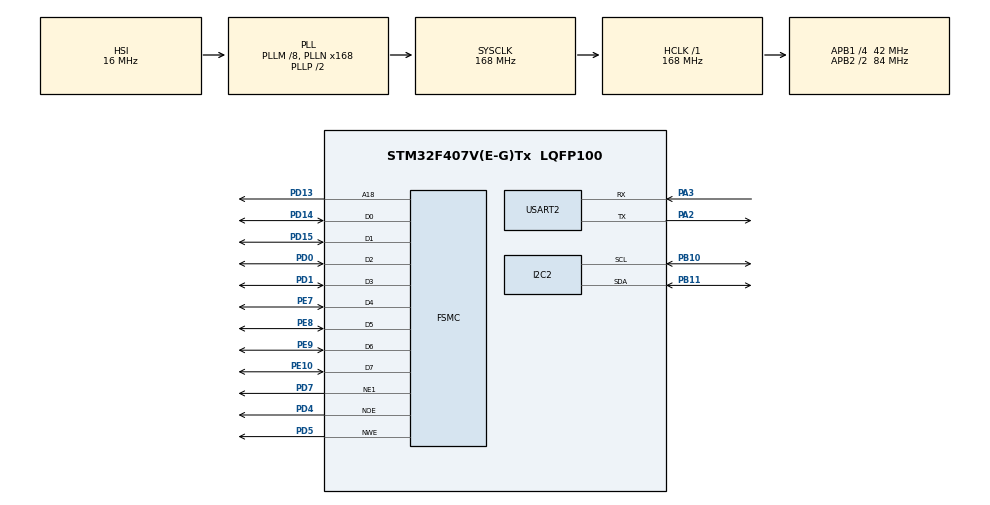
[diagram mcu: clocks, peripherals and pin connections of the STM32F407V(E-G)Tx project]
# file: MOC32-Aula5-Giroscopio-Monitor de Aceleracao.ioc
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I2C2.I2C_Mode=I2C_Fast
Mcu.Family=STM32F4
Mcu.Name=STM32F407V(E-G)Tx
Mcu.Package=LQFP100
NVIC.PriorityGroup=NVIC_PRIORITYGROUP_4
PA2.Mode=Asynchronous
PA2.Signal=USART2_TX
PA3.Mode=Asynchronous
PA3.Signal=USART2_RX
PB10.GPIO_Pu=GPIO_PULLUP
PB10.Mode=I2C
PB10.Signal=I2C2_SCL
PB11.GPIO_Pu=GPIO_PULLUP
PB11.Mode=I2C
PB11.Signal=I2C2_SDA
PD0.Mode=8b-d1
PD0.Signal=FSMC_D2
PD1.Mode=8b-d1
PD1.Signal=FSMC_D3
PD13.Mode=A18_1
PD13.Signal=FSMC_A18
PD14.Mode=8b-d1
PD14.Signal=FSMC_D0
PD15.Mode=8b-d1
PD15.Signal=FSMC_D1
PD4.Mode=Lcd1
PD4.Signal=FSMC_NOE
PD5.Mode=Lcd1
PD5.Signal=FSMC_NWE
PD7.Mode=NorPsramChipSelect1_1
PD7.Signal=FSMC_NE1
PE10.Mode=8b-d1
PE10.Signal=FSMC_D7
PE7.Mode=8b-d1
PE7.Signal=FSMC_D4
PE8.Mode=8b-d1
PE8.Signal=FSMC_D5
PE9.Mode=8b-d1
PE9.Signal=FSMC_D6
PH0-OSC_IN.Mode=HSE-External-Oscillator
PH0-OSC_IN.Signal=RCC_OSC_IN
PH1-OSC_OUT.Mode=HSE-External-Oscillator
PH1-OSC_OUT.Signal=RCC_OSC_OUT
ProjectManager.HeapSize=0x200
ProjectManager.StackSize=0x400
ProjectManager.TargetToolchain=STM32CubeIDE
RCC.48MHZClocksFreq_Value=84000000
RCC.AHBFreq_Value=168000000
RCC.APB1CLKDivider=RCC_HCLK_DIV4
RCC.APB1Freq_Value=42000000
RCC.APB1TimFreq_Value=84000000
RCC.APB2CLKDivider=RCC_HCLK_DIV2
RCC.APB2Freq_Value=84000000
RCC.APB2TimFreq_Value=168000000
RCC.CortexFreq_Value=168000000
RCC.HCLKFreq_Value=168000000
RCC.HSE_VALUE=8000000
RCC.HSI_VALUE=16000000
RCC.LSE_VALUE=32768
RCC.PLLM=8
RCC.PLLN=168
RCC.SYSCLKFreq_VALUE=168000000
RCC.SYSCLKSource=RCC_SYSCLKSOURCE_PLLCLK
RCC.VCOOutputFreq_Value=336000000
USART2.VirtualMode=VM_ASYNC
board=custom

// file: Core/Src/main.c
/* USER CODE BEGIN Header */
/**
 ******************************************************************************
 * @file           : main.c
 * @brief          : Main program body
 ******************************************************************************
 * @attention
 *
 * Copyright (c) 2023 STMicroelectronics.
 * All rights reserved.
 *
 * This software is licensed under terms that can be found in the LICENSE file
 * in the root directory of this software component.
 * If no LICENSE file comes with this software, it is provided AS-IS.
 *
 ******************************************************************************
 */
/* USER CODE END Header */
#include "main.h"

/* USER CODE BEGIN Includes */
#include "stm32f4xx_hal.h"
#include "MPU9250.h"
#include <stdio.h>
#include "ili9341.h"
#include "common.h"
#include "fonts.h"
#include "lcd.h"
#include "math.h"
#include <stdbool.h>
/* USER CODE END Includes */

I2C_HandleTypeDef hi2c2;

UART_HandleTypeDef huart2;

SRAM_HandleTypeDef hsram1;

/* USER CODE BEGIN PV */
extern float ax, ay, az;
extern float gx, gy, gz;
extern float mx, my, mz;
extern float temperatura;
extern float q[4];
extern float yaw, pitch, roll;
/* USER CODE END PV */

void SystemClock_Config(void);
static void MX_GPIO_Init(void);
static void MX_FSMC_Init(void);
static void MX_USART2_UART_Init(void);
static void MX_I2C2_Init(void);

int main(void)
{
  /* USER CODE BEGIN 1 */
	int32_t timer;
	uint8_t buffer[100];
  /* USER CODE END 1 */

  /* MCU Configuration--------------------------------------------------------*/

  /* Reset of all peripherals, Initializes the Flash interface and the Systick. */
  HAL_Init();

  /* Configure the system clock */
  SystemClock_Config();

  /* Initialize all configured peripherals */
  MX_GPIO_Init();
  MX_FSMC_Init();
  MX_USART2_UART_Init();
  MX_I2C2_Init();
  /* USER CODE BEGIN 2 */
	MPU9250_init(&hi2c2);
	ili9341_Init();
	ili9341_FillScreen(COLOR_BLACK);
	//HAL_UART_Transmit(&huart2, "Teste", strlen("Teste"), 100);
  /* USER CODE END 2 */

  /* Infinite loop */
	while (1) {

    /* USER CODE BEGIN 3 */
		updateIMU();
		if ((HAL_GetTick() - timer) > 10)
		{
			ili9341_FillScreen(COLOR_BLACK);
			sprintf(&buffer,"TEMPERATURE : %.2f\r\n",temperatura);
			//HAL_UART_Transmit(&huart2, buffer, strlen(buffer), 100);
			ili9341_Printnewtstr(15, COLOR_YELLOW, &mono9x7bold, 1,buffer);
			sprintf(&buffer,"ACCELERATION X : %.2f", ax);
			//HAL_UART_Transmit(&huart2, buffer, strlen(buffer), 100);
			ili9341_Printnewtstr(30, COLOR_YELLOW, &mono9x7bold, 1,buffer);
			sprintf(&buffer,"\tY : %.2f", ay);
			//HAL_UART_Transmit(&huart2, buffer, strlen(buffer), 100);
			ili9341_Printnewtstr(45, COLOR_YELLOW, &mono9x7bold, 1,buffer);
			sprintf(&buffer,"\tZ : %.2f\r\n", ax);
			//HAL_UART_Transmit(&huart2, buffer, strlen(buffer), 100);
			ili9341_Printnewtstr(60, COLOR_YELLOW, &mono9x7bold, 1,buffer);
			sprintf(&buffer,"GYROSCOPE X : %.2f", gx);
			//HAL_UART_Transmit(&huart2, buffer, strlen(buffer), 100);
			ili9341_Printnewtstr(75, COLOR_YELLOW, &mono9x7bold, 1,buffer);
			sprintf(&buffer,"\tY : %.2f", gy);
			//HAL_UART_Transmit(&huart2, buffer, strlen(buffer), 100);
			ili9341_Printnewtstr(90, COLOR_YELLOW, &mono9x7bold, 1,buffer);
			sprintf(&buffer,"\tZ : %.2f\r\n", gz);
			//HAL_UART_Transmit(&huart2, buffer, strlen(buffer), 100);
			ili9341_Printnewtstr(105, COLOR_YELLOW, &mono9x7bold, 1,buffer);
			sprintf(&buffer,"COMPASS X : %.2f", mx);
			//HAL_UART_Transmit(&huart2, buffer, strlen(buffer), 100);
			ili9341_Printnewtstr(120, COLOR_YELLOW, &mono9x7bold, 1,buffer);
			sprintf(&buffer,"\tY : %.2f", my);
			//HAL_UART_Transmit(&huart2, buffer, strlen(buffer), 100);
			ili9341_Printnewtstr(135, COLOR_YELLOW, &mono9x7bold, 1,buffer);
			sprintf(&buffer,"\tZ : %.2f\r\n", mz);
			//HAL_UART_Transmit(&huart2, buffer, strlen(buffer), 100);
			ili9341_Printnewtstr(150, COLOR_YELLOW, &mono9x7bold, 1,buffer);
//			updateOrientation();
//			getEulerAngles_deg(&roll, &pitch, &yaw);
//			//sprintf(&buffer,"ACC ANGLE X : %.2f", );
//			//HAL_UART_Transmit(&huart2, buffer, strlen(buffer), 100);
//			//sprintf(&buffer,"\tY : %.2f\r\n", MPU6050_getAccAngleY());
//			//HAL_UART_Transmit(&huart2, buffer, strlen(buffer), 100);
//			sprintf(&buffer,"ANGLE X : %.2f", roll);
//			HAL_UART_Transmit(&huart2, buffer, strlen(buffer), 100);
//			sprintf(&buffer,"\tY : %.2f", pitch);
//			HAL_UART_Transmit(&huart2, buffer, strlen(buffer), 100);
//			sprintf(&buffer,"\tZ : %.2f\r\n", yaw);
//			HAL_UART_Transmit(&huart2, buffer, strlen(buffer), 100);
			sprintf(&buffer,"=======================================================\r\n");
			HAL_UART_Transmit(&huart2, buffer, strlen(buffer), 100);
			timer = HAL_GetTick();

		}
	}
  /* USER CODE END 3 */
}

void SystemClock_Config(void)
{
  RCC_OscInitTypeDef RCC_OscInitStruct = {0};
  RCC_ClkInitTypeDef RCC_ClkInitStruct = {0};

  /** Configure the main internal regulator output voltage
  */
  __HAL_RCC_PWR_CLK_ENABLE();
  __HAL_PWR_VOLTAGESCALING_CONFIG(PWR_REGULATOR_VOLTAGE_SCALE1);

  /** Initializes the RCC Oscillators according to the specified parameters
  * in the RCC_OscInitTypeDef structure.
  */
  RCC_OscInitStruct.OscillatorType = RCC_OSCILLATORTYPE_HSI;
  RCC_OscInitStruct.HSIState = RCC_HSI_ON;
  RCC_OscInitStruct.HSICalibrationValue = RCC_HSICALIBRATION_DEFAULT;
  RCC_OscInitStruct.PLL.PLLState = RCC_PLL_ON;
  RCC_OscInitStruct.PLL.PLLSource = RCC_PLLSOURCE_HSI;
  RCC_OscInitStruct.PLL.PLLM = 8;
  RCC_OscInitStruct.PLL.PLLN = 168;
  RCC_OscInitStruct.PLL.PLLP = RCC_PLLP_DIV2;
  RCC_OscInitStruct.PLL.PLLQ = 4;
  if (HAL_RCC_OscConfig(&RCC_OscInitStruct) != HAL_OK)
  {
    Error_Handler();
  }

  /** Initializes the CPU, AHB and APB buses clocks
  */
  RCC_ClkInitStruct.ClockType = RCC_CLOCKTYPE_HCLK|RCC_CLOCKTYPE_SYSCLK
                              |RCC_CLOCKTYPE_PCLK1|RCC_CLOCKTYPE_PCLK2;
  RCC_ClkInitStruct.SYSCLKSource = RCC_SYSCLKSOURCE_PLLCLK;
  RCC_ClkInitStruct.AHBCLKDivider = RCC_SYSCLK_DIV1;
  RCC_ClkInitStruct.APB1CLKDivider = RCC_HCLK_DIV4;
  RCC_ClkInitStruct.APB2CLKDivider = RCC_HCLK_DIV2;

  if (HAL_RCC_ClockConfig(&RCC_ClkInitStruct, FLASH_LATENCY_5) != HAL_OK)
  {
    Error_Handler();
  }
}

static void MX_I2C2_Init(void)
{

  hi2c2.Instance = I2C2;
  hi2c2.Init.ClockSpeed = 400000;
  hi2c2.Init.DutyCycle = I2C_DUTYCYCLE_2;
  hi2c2.Init.OwnAddress1 = 0;
  hi2c2.Init.AddressingMode = I2C_ADDRESSINGMODE_7BIT;
  hi2c2.Init.DualAddressMode = I2C_DUALADDRESS_DISABLE;
  hi2c2.Init.OwnAddress2 = 0;
  hi2c2.Init.GeneralCallMode = I2C_GENERALCALL_DISABLE;
  hi2c2.Init.NoStretchMode = I2C_NOSTRETCH_DISABLE;
  if (HAL_I2C_Init(&hi2c2) != HAL_OK)
  {
    Error_Handler();
  }

}

static void MX_USART2_UART_Init(void)
{

  huart2.Instance = USART2;
  huart2.Init.BaudRate = 115200;
  huart2.Init.WordLength = UART_WORDLENGTH_8B;
  huart2.Init.StopBits = UART_STOPBITS_1;
  huart2.Init.Parity = UART_PARITY_NONE;
  huart2.Init.Mode = UART_MODE_TX_RX;
  huart2.Init.HwFlowCtl = UART_HWCONTROL_NONE;
  huart2.Init.OverSampling = UART_OVERSAMPLING_16;
  if (HAL_UART_Init(&huart2) != HAL_OK)
  {
    Error_Handler();
  }

}

static void MX_GPIO_Init(void)
{

  /* GPIO Ports Clock Enable */
  __HAL_RCC_GPIOH_CLK_ENABLE();
  __HAL_RCC_GPIOA_CLK_ENABLE();
  __HAL_RCC_GPIOE_CLK_ENABLE();
  __HAL_RCC_GPIOB_CLK_ENABLE();
  __HAL_RCC_GPIOD_CLK_ENABLE();

}

/* FSMC initialization function */
static void MX_FSMC_Init(void)
{

  FSMC_NORSRAM_TimingTypeDef Timing = {0};

  /** Perform the SRAM1 memory initialization sequence
  */
  hsram1.Instance = FSMC_NORSRAM_DEVICE;
  hsram1.Extended = FSMC_NORSRAM_EXTENDED_DEVICE;
  /* hsram1.Init */
  hsram1.Init.NSBank = FSMC_NORSRAM_BANK1;
  hsram1.Init.DataAddressMux = FSMC_DATA_ADDRESS_MUX_DISABLE;
  hsram1.Init.MemoryType = FSMC_MEMORY_TYPE_SRAM;
  hsram1.Init.MemoryDataWidth = FSMC_NORSRAM_MEM_BUS_WIDTH_8;
  hsram1.Init.BurstAccessMode = FSMC_BURST_ACCESS_MODE_DISABLE;
  hsram1.Init.WaitSignalPolarity = FSMC_WAIT_SIGNAL_POLARITY_LOW;
  hsram1.Init.WrapMode = FSMC_WRAP_MODE_DISABLE;
  hsram1.Init.WaitSignalActive = FSMC_WAIT_TIMING_BEFORE_WS;
  hsram1.Init.WriteOperation = FSMC_WRITE_OPERATION_ENABLE;
  hsram1.Init.WaitSignal = FSMC_WAIT_SIGNAL_DISABLE;
  hsram1.Init.ExtendedMode = FSMC_EXTENDED_MODE_DISABLE;
  hsram1.Init.AsynchronousWait = FSMC_ASYNCHRONOUS_WAIT_DISABLE;
  hsram1.Init.WriteBurst = FSMC_WRITE_BURST_DISABLE;
  hsram1.Init.PageSize = FSMC_PAGE_SIZE_NONE;
  /* Timing */
  Timing.AddressSetupTime = 15;
  Timing.AddressHoldTime = 15;
  Timing.DataSetupTime = 255;
  Timing.BusTurnAroundDuration = 15;
  Timing.CLKDivision = 16;
  Timing.DataLatency = 17;
  Timing.AccessMode = FSMC_ACCESS_MODE_A;
  /* ExtTiming */

  if (HAL_SRAM_Init(&hsram1, &Timing, NULL) != HAL_OK)
  {
    Error_Handler( );
  }

}

void Error_Handler(void)
{
	__disable_irq();
	while (1) {
	}
}
